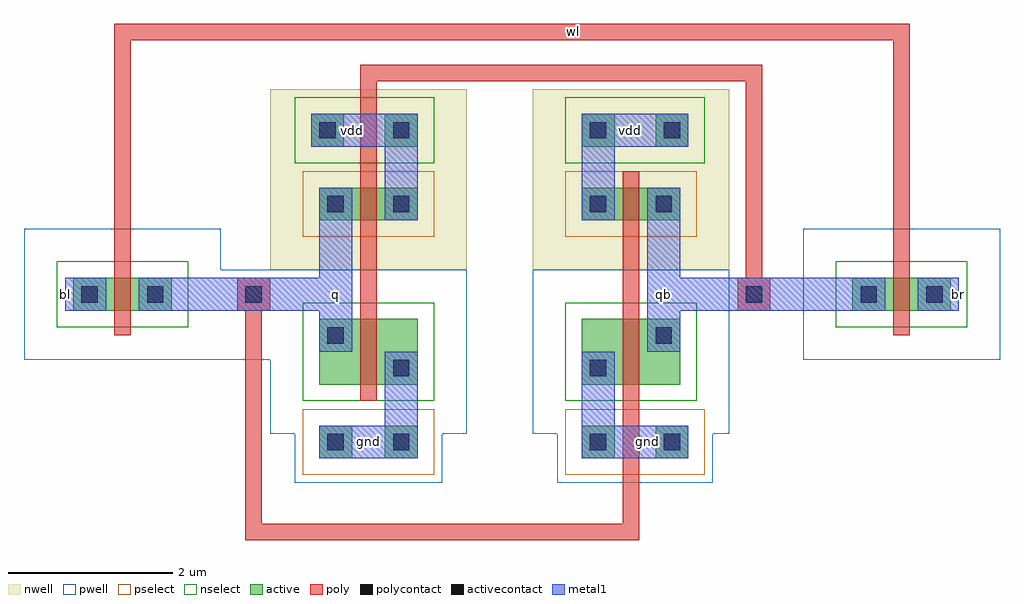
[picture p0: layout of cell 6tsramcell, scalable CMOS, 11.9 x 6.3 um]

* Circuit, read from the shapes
.subckt 6tsramcell bl br gnd q qb vdd wl
M1 q wl bl gnd nfet w=0.4u l=0.2u
M2 gnd qb q gnd nfet w=0.8u l=0.2u
M3 qb q gnd gnd nfet w=0.8u l=0.2u
M4 br wl qb gnd nfet w=0.4u l=0.2u
M5 vdd qb q vdd pfet w=0.4u l=0.2u
M6 qb q vdd vdd pfet w=0.4u l=0.2u
.ends

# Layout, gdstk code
import gdstk
lib = gdstk.Library(unit=1e-6, precision=1e-09)
def R(c, l, rs):  # rectangles x0, y0, x1, y1
    for r in rs: c.add(gdstk.rectangle(r[:2], r[2:], *l))
pwell = (41, 0)
nwell = (42, 0)
active = (43, 0)
pselect = (44, 0)
nselect = (45, 0)
poly = (46, 0)
polycontact = (47, 0)
activecontact = (48, 0)
metal1 = (49, 0)

c_6tsramcell = lib.new_cell('6tsramcell')
R(c_6tsramcell, pwell, [(-0.4,-2.8,1.4,-2.2), (2.8,-2.8,4.7,-2.2), (-0.7,-2.2,1.7,-1.3), (2.5,-2.2,4.9,-0.2), (-3.7,-1.3,1.7,-0.2), (5.8,-1.3,8.2,0.3), (-3.7,-0.2,-1.3,0.3)])
R(c_6tsramcell, nwell, [(-0.7,-0.2,1.7,2), (2.5,-0.2,4.9,2)])
R(c_6tsramcell, active, [(-0.1,-2.5,0.3,-2.1), (0.7,-2.5,1.1,-2.1), (3.1,-2.5,3.5,-2.1), (4,-2.5,4.4,-2.1), (-0.1,-1.6,1.1,-0.8), (3.1,-1.6,4.3,-0.8), (-3.1,-0.7,-1.9,-0.3), (6.4,-0.7,7.6,-0.3), (-0.1,0.4,1.1,0.8), (3.1,0.4,4.3,0.8), (-0.2,1.3,0.2,1.7), (0.7,1.3,1.1,1.7), (3.1,1.3,3.5,1.7), (4,1.3,4.4,1.7)])
R(c_6tsramcell, pselect, [(-0.3,-2.7,1.3,-1.9), (2.9,-2.7,4.6,-1.9), (-0.3,0.2,1.3,1), (2.9,0.2,4.5,1)])
R(c_6tsramcell, nselect, [(-0.3,-1.8,1.3,-0.6), (2.9,-1.8,4.5,-0.6), (-3.3,-0.9,-1.7,-0.1), (6.2,-0.9,7.8,-0.1), (-0.4,1.1,1.3,1.9), (2.9,1.1,4.6,1.9)])
R(c_6tsramcell, poly, [(-1,-3.5,3.8,-3.3), (-1,-3.3,-0.8,-0.7), (3.6,-3.3,3.8,1), (0.4,-1.8,0.6,2.1), (-2.6,-1,-2.4,2.6), (6.9,-1,7.1,2.6), (-1.1,-0.7,-0.7,-0.3), (5,-0.7,5.4,-0.3), (5.1,-0.3,5.3,2.1), (0.4,2.1,5.3,2.3), (-2.6,2.6,7.1,2.8)])
R(c_6tsramcell, polycontact, [(-1,-0.6,-0.8,-0.4), (5.1,-0.6,5.3,-0.4)])
R(c_6tsramcell, activecontact, [(0,-2.4,0.2,-2.2), (0.8,-2.4,1,-2.2), (3.2,-2.4,3.4,-2.2), (4.1,-2.4,4.3,-2.2), (0.8,-1.5,1,-1.3), (3.2,-1.5,3.4,-1.3), (0,-1.1,0.2,-0.9), (4,-1.1,4.2,-0.9), (-3,-0.6,-2.8,-0.4), (-2.2,-0.6,-2,-0.4), (6.5,-0.6,6.7,-0.4), (7.3,-0.6,7.5,-0.4), (0,0.5,0.2,0.7), (0.8,0.5,1,0.7), (3.2,0.5,3.4,0.7), (4,0.5,4.2,0.7), (-0.1,1.4,0.1,1.6), (0.8,1.4,1,1.6), (3.2,1.4,3.4,1.6), (4.1,1.4,4.3,1.6)])
R(c_6tsramcell, metal1, [(-0.1,-2.5,1.1,-2.1), (3.1,-2.5,4.4,-2.1), (0.7,-2.1,1.1,-1.2), (3.1,-2.1,3.5,-1.2), (-0.1,-1.2,0.3,-0.7), (3.9,-1.2,4.3,-0.7), (-3.2,-0.7,-2.7,-0.3), (-2.3,-0.7,0.3,-0.3), (3.9,-0.7,6.8,-0.3), (7.2,-0.7,7.7,-0.3), (-0.1,-0.3,0.3,0.8), (3.9,-0.3,4.3,0.8), (0.7,0.4,1.1,1.3), (3.1,0.4,3.5,1.3), (-0.2,1.3,1.1,1.7), (3.1,1.3,4.4,1.7)])
c_6tsramcell.add(gdstk.Label('q', (0.1,-0.5), layer=49, texttype=0))
c_6tsramcell.add(gdstk.Label('qb', (4.1,-0.5), layer=49, texttype=0))
c_6tsramcell.add(gdstk.Label('br', (7.7,-0.5), layer=49, texttype=0))
c_6tsramcell.add(gdstk.Label('bl', (-3.2,-0.5), layer=49, texttype=0))
c_6tsramcell.add(gdstk.Label('gnd', (0.5,-2.3), layer=49, texttype=0))
c_6tsramcell.add(gdstk.Label('wl', (3,2.7), layer=46, texttype=0))
c_6tsramcell.add(gdstk.Label('vdd', (0.3,1.5), layer=49, texttype=0))
c_6tsramcell.add(gdstk.Label('vdd', (3.7,1.5), layer=49, texttype=0))
c_6tsramcell.add(gdstk.Label('gnd', (3.9,-2.3), layer=49, texttype=0))

lib.write_gds('6tsramcell.gds')
